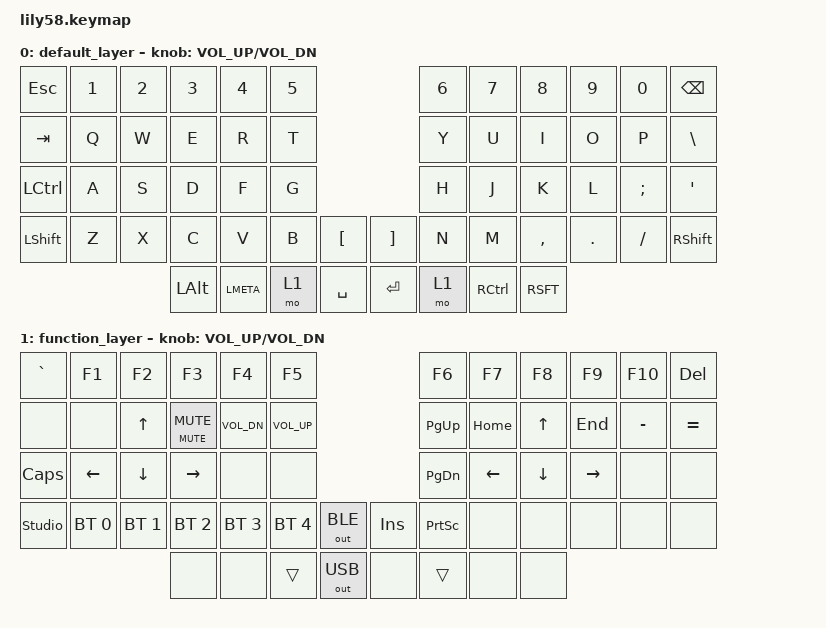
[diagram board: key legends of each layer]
/*
 * Copyright (c) 2020 The ZMK Contributors
 *
 * SPDX-License-Identifier: MIT
 */

#include <behaviors.dtsi>
#include <dt-bindings/zmk/pointing.h>
#include <dt-bindings/zmk/bt.h>
#include <dt-bindings/zmk/keys.h>
#include <dt-bindings/zmk/outputs.h>
 
/ {
    // Combo keys are a way to combine multiple keypresses to output a different key.

    combos { compatible = "zmk,combos"; };

    keymap {
        compatible = "zmk,keymap";

        default_layer {
            bindings = <
//    ┌──────┬───┬───┬──────┬──────┬──────┐               ┌──────┬──────┬────────┬───┬───┬──────┐
//    │ esc  │ 1 │ 2 │  3   │  4   │  5   │               │  6   │  7   │   8    │ 9 │ 0 │ bspc │
//    ├──────┼───┼───┼──────┼──────┼──────┤               ├──────┼──────┼────────┼───┼───┼──────┤
//    │ tab  │ Q │ W │  E   │  R   │  T   │               │  Y   │  U   │   I    │ O │ P │  \   │
//    ├──────┼───┼───┼──────┼──────┼──────┤               ├──────┼──────┼────────┼───┼───┼──────┤
//    │ lctl │ A │ S │  D   │  F   │  G   │               │  H   │  J   │   K    │ L │ ; │  '   │
//    ├──────┼───┼───┼──────┼──────┼──────┼─────┐   ┌─────┼──────┼──────┼────────┼───┼───┼──────┤
//    │ lsft │ Z │ X │  C   │  V   │  B   │  [  │   │  ]  │  N   │  M   │   ,    │ . │ / │ rsft │
//    └──────┴───┴───┼──────┼──────┼──────┼─────┤   ├─────┼──────┼──────┼────────┼───┴───┴──────┘
//                   │ lalt │ lgui │ mo 1 │ spc │   │ ent │ mo 1 │ rctl │ rsftFT │
//                   └──────┴──────┴──────┴─────┘   └─────┴──────┴──────┴────────┘
  &kp ESC     &kp N1   &kp N2   &kp N3     &kp N4      &kp N5                               &kp N6   &kp N7      &kp N8      &kp N9    &kp N0     &kp BSPC
  &kp TAB     &kp Q    &kp W    &kp E      &kp R       &kp T                                &kp Y    &kp U       &kp I       &kp O     &kp P      &kp BSLH
  &kp LCTRL   &kp A    &kp S    &kp D      &kp F       &kp G                                &kp H    &kp J       &kp K       &kp L     &kp SEMI   &kp SQT
  &kp LSHFT   &kp Z    &kp X    &kp C      &kp V       &kp B    &kp LBKT        &kp RBKT    &kp N    &kp M       &kp COMMA   &kp DOT   &kp FSLH   &kp RSHFT
                                &kp LALT   &kp LMETA   &mo 1    &kp SPACE       &kp ENTER   &mo 1    &kp RCTRL   &kp RSFT
            >;

            sensor-bindings = <&inc_dec_kp C_VOL_UP C_VOL_DN>;
        };

        function_layer {
            bindings = <
//    ┌────────────────┬──────────┬──────────┬──────────────┬──────────┬──────────┐                    ┌──────┬──────┬──────┬──────┬─────┬─────┐
//    │       `        │    f1    │    f2    │      f3      │    f4    │    f5    │                    │  f6  │  f7  │  f8  │  f9  │ f10 │ del │
//    ├────────────────┼──────────┼──────────┼──────────────┼──────────┼──────────┤                    ├──────┼──────┼──────┼──────┼─────┼─────┤
//    │                │          │    up    │ mt mute mute │   vold   │   volu   │                    │ pgup │ home │  up  │ end  │  -  │  =  │
//    ├────────────────┼──────────┼──────────┼──────────────┼──────────┼──────────┤                    ├──────┼──────┼──────┼──────┼─────┼─────┤
//    │      caps      │   left   │   down   │     rght     │          │          │                    │ pgdn │ left │ down │ rght │     │     │
//    ├────────────────┼──────────┼──────────┼──────────────┼──────────┼──────────┼──────────┐   ┌─────┼──────┼──────┼──────┼──────┼─────┼─────┤
//    │ &studio_unlock │ bt_sel 0 │ bt_sel 1 │   bt_sel 2   │ bt_sel 3 │ bt_sel 4 │ out_ ble │   │ ins │ pscr │      │      │      │     │     │
//    └────────────────┴──────────┴──────────┼──────────────┼──────────┼──────────┼──────────┤   ├─────┼──────┼──────┼──────┼──────┴─────┴─────┘
//                                           │              │          │          │ out_ usb │   │     │      │      │      │
//                                           └──────────────┴──────────┴──────────┴──────────┘   └─────┴──────┴──────┴──────┘
  &kp GRAVE        &kp F1         &kp F2         &kp F3              &kp F4         &kp F5                                         &kp F6      &kp F7     &kp F8     &kp F9      &kp F10     &kp DEL
  &none            &none          &kp UP         &mt C_MUTE K_MUTE   &kp C_VOL_DN   &kp C_VOL_UP                                   &kp PG_UP   &kp HOME   &kp UP     &kp END     &kp MINUS   &kp EQUAL
  &kp CAPSLOCK     &kp LEFT       &kp DOWN       &kp RIGHT           &none          &none                                          &kp PG_DN   &kp LEFT   &kp DOWN   &kp RIGHT   &none       &none
  &studio_unlock   &bt BT_SEL 0   &bt BT_SEL 1   &bt BT_SEL 2        &bt BT_SEL 3   &bt BT_SEL 4   &out OUT_BLE       &kp INSERT   &kp PSCRN   &none      &none      &none       &none       &none
                                                 &none               &none          &trans         &out OUT_USB       &none        &trans      &none      &none
            >;

            sensor-bindings = <&inc_dec_kp C_VOL_UP C_VOL_DN>;
        };

        extra1 {
            status = "reserved";
        };

        extra2 {
            status = "reserved";
        };

        extra3 {
            status = "reserved";
        };

        extra4 {
            status = "reserved";
        };

        extra5 {
            status = "reserved";
        };

        extra6 {
            status = "reserved";
        };

        extra7 {
            status = "reserved";
        };
    };
};
